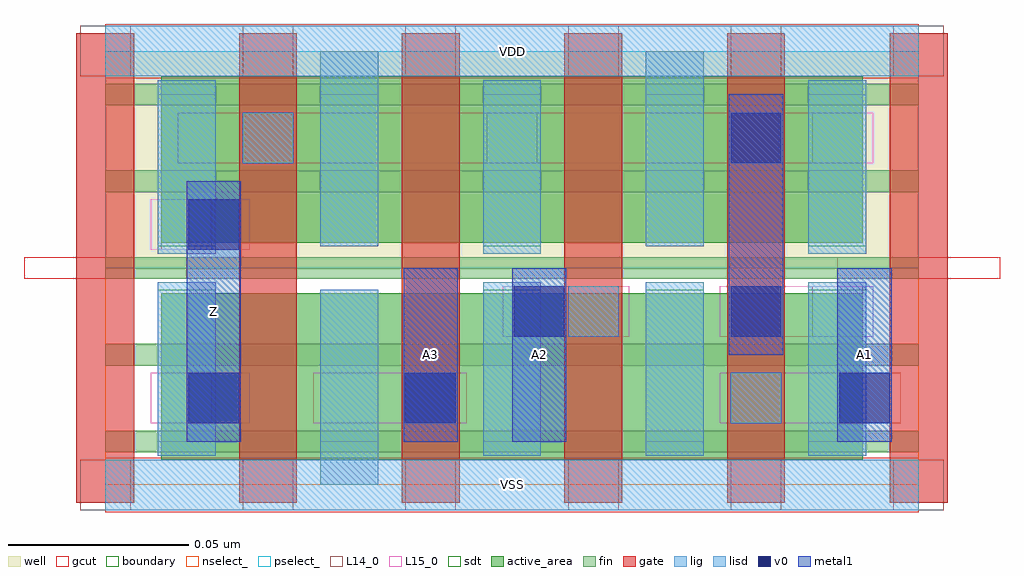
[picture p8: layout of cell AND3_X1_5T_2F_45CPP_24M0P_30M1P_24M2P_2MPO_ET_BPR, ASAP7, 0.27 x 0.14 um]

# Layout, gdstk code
import gdstk
lib = gdstk.Library(unit=1e-6, precision=2.5e-10)
def R(c, l, rs):  # rectangles x0, y0, x1, y1
    for r in rs: c.add(gdstk.rectangle(r[:2], r[2:], *l))
def A(c, l, x, y, w, h, nx, ny, dx, dy):  # array of equal rectangles
    R(c, l, [(x+i*dx, y+j*dy, x+i*dx+w, y+j*dy+h) for i in range(nx) for j in range(ny)])
well = (1, 0)
fin = (2, 0)
gate = (7, 0)
gcut = (10, 0)
active_area = (11, 0)
nselect_ = (12, 0)
pselect_ = (13, 0)
L14_0 = (14, 0)
L15_0 = (15, 0)
lig = (16, 0)
lisd = (17, 0)
v0 = (18, 0)
metal1 = (19, 0)
sdt = (88, 0)
boundary = (100, 0)

and3_x1_5t_2f_45cpp_24m0 = lib.new_cell('AND3_X1_5T_2F_45CPP_24M0P_30M1P_24M2P_2MPO_ET_BPR')
R(and3_x1_5t_2f_45cpp_24m0, well, [(0,0.06,0.225,0.12)])
A(and3_x1_5t_2f_45cpp_24m0, fin, 0, 0.009, 0.225, 0.006, 1, 5, 0, 0.024)
A(and3_x1_5t_2f_45cpp_24m0, gate, -0.008, -0.005, 0.016, 0.13, 6, 1, 0.045, 0)
R(and3_x1_5t_2f_45cpp_24m0, gcut, [(0,-0.0075,0.225,0.0075), (-0.0225,0.057,0.0225,0.063), (0.2025,0.057,0.2475,0.063), (0,0.1125,0.225,0.1275)])
A(and3_x1_5t_2f_45cpp_24m0, active_area, 0.0155, 0.007, 0.059, 0.046, 4, 2, 0.045, 0.06)
R(and3_x1_5t_2f_45cpp_24m0, nselect_, [(0,0,0.225,0.06)])
R(and3_x1_5t_2f_45cpp_24m0, pselect_, [(0,0.06,0.225,0.12)])
A(and3_x1_5t_2f_45cpp_24m0, L14_0, -0.007, -0.007, 0.014, 0.014, 6, 2, 0.045, 0.12)
R(and3_x1_5t_2f_45cpp_24m0, L14_0, [(0.0155,0.017,0.0295,0.031), (0.083,0.017,0.097,0.031), (0.173,0.017,0.187,0.031), (0.128,0.041,0.142,0.055), (0.1955,0.041,0.2095,0.055), (0.0155,0.065,0.0295,0.079), (0.038,0.089,0.052,0.103), (0.1055,0.089,0.1195,0.103), (0.1955,0.089,0.2095,0.103)])
R(and3_x1_5t_2f_45cpp_24m0, L15_0, [(0,-0.007,0.225,0.007), (0.0125,0.017,0.04,0.031), (0.0575,0.017,0.1,0.031), (0.17,0.017,0.22,0.031), (0.11,0.041,0.145,0.055), (0.17,0.041,0.2125,0.055), (0.0125,0.065,0.04,0.079), (0.02,0.089,0.2125,0.103), (0,0.113,0.225,0.127)])
R(and3_x1_5t_2f_45cpp_24m0, lig, [(0,-0.007,0.225,0.007), (0.083,0.017,0.097,0.031), (0.173,0.017,0.187,0.031), (0.128,0.041,0.142,0.055), (0.038,0.089,0.052,0.103), (0,0.113,0.225,0.127)])
A(and3_x1_5t_2f_45cpp_24m0, lisd, 0.1045, 0.008, 0.016, 0.048, 3, 1, 0.045, 0)
A(and3_x1_5t_2f_45cpp_24m0, lisd, 0.0145, 0.064, 0.016, 0.048, 3, 1, 0.09, 0)
R(and3_x1_5t_2f_45cpp_24m0, lisd, [(0.0595,0,0.0755,0.054), (0.0145,0.008,0.0305,0.056), (0.0595,0.066,0.0755,0.12), (0.1495,0.066,0.1655,0.12)])
R(and3_x1_5t_2f_45cpp_24m0, v0, [(0.023,0.017,0.037,0.031), (0.083,0.017,0.097,0.031), (0.203,0.017,0.217,0.031), (0.113,0.041,0.127,0.055), (0.173,0.041,0.187,0.055), (0.023,0.065,0.037,0.079), (0.173,0.089,0.187,0.103)])
R(and3_x1_5t_2f_45cpp_24m0, metal1, [(0.0225,0.012,0.0375,0.084), (0.0825,0.012,0.0975,0.06), (0.1125,0.012,0.1275,0.06), (0.2025,0.012,0.2175,0.06), (0.1725,0.036,0.1875,0.108)])
A(and3_x1_5t_2f_45cpp_24m0, sdt, 0.0145, 0.012, 0.016, 0.042, 5, 2, 0.045, 0.054)
R(and3_x1_5t_2f_45cpp_24m0, boundary, [(0,0,0.225,0.12)])
and3_x1_5t_2f_45cpp_24m0.add(gdstk.Label('Z', (0.03,0.048), layer=19, texttype=251))
and3_x1_5t_2f_45cpp_24m0.add(gdstk.Label('A1', (0.21,0.036), layer=19, texttype=251))
and3_x1_5t_2f_45cpp_24m0.add(gdstk.Label('A2', (0.12,0.036), layer=19, texttype=251))
and3_x1_5t_2f_45cpp_24m0.add(gdstk.Label('A3', (0.09,0.036), layer=19, texttype=251))
and3_x1_5t_2f_45cpp_24m0.add(gdstk.Label('VDD', (0.1125,0.12), layer=15, texttype=251))
and3_x1_5t_2f_45cpp_24m0.add(gdstk.Label('VSS', (0.1125,0), layer=15, texttype=251))
and3_x1_5t_2f_45cpp_24m0.add(gdstk.Label('VDD', (0.1125,0.12), layer=1, texttype=251))
and3_x1_5t_2f_45cpp_24m0.add(gdstk.Label('VSS', (0.1125,0), layer=3, texttype=251))

lib.write_gds('AND3_X1_5T_2F_45CPP_24M0P_30M1P_24M2P_2MPO_ET_BPR.gds')
